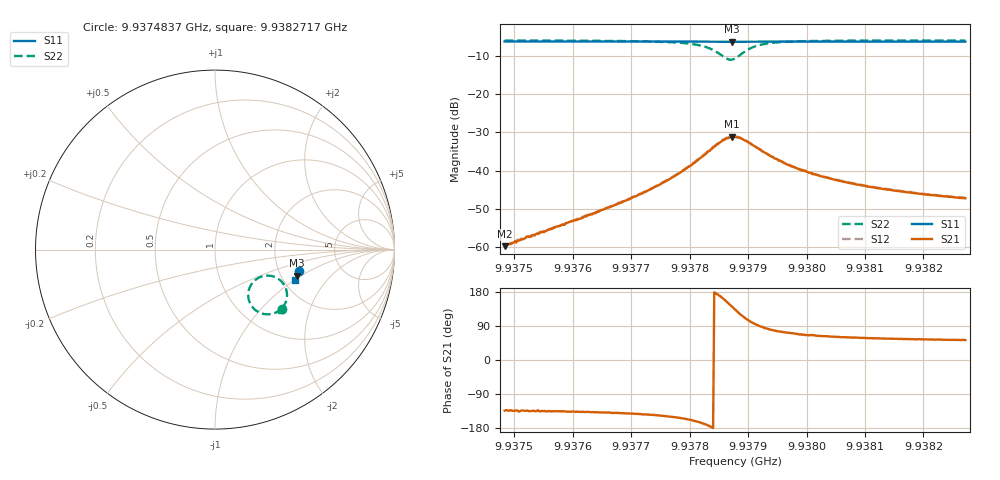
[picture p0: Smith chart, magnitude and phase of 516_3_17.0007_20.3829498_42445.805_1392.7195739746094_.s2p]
#  HZ  S  RI  R  50.00
! Rohde & Schwarz Vector Network Analyzer
! Rohde-Schwarz,ZNB20-2Port,1311601062101988,3.16
! Created: UTC 3/20/2024, 11:15:12 PM
! freq[Hz]  re:S11  im:S11  re:S21  im:S21  re:S12  im:S12  re:S22  im:S22
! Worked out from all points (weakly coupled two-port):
!   401 points, 9.9374837 GHz to 9.9382717 GHz, reference 50 ohm
!   highest |S21| = -31.20 dB at 9.9378718 GHz (marker M1); lowest = -59.7 dB at 9.9374837 GHz (marker M2)
!   lowest |S11| = -6.4 dB at 9.9378718 GHz (marker M3), VSWR 2.83, Z = 122 - j45.5 ohm
!   |S11| at or under -10 dB: nowhere
!   |S22| runs from -11.1 to -6.1 dB; largest |S21 - S12| = 0.0012
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9.93748369e9  0.4675 -0.1203  -0.000712 -0.000746  -0.000749 -0.000755  0.3718 -0.3293
9.93761568e9  0.4645 -0.1294  -0.00176 -0.00163  -0.00182 -0.00168  0.3559 -0.3414
9.93769645e9  0.4626 -0.1348  -0.00328 -0.00264  -0.0034 -0.00262  0.3387 -0.3508
9.93774767e9  0.461 -0.1383  -0.00538 -0.00358  -0.00552 -0.00357  0.3181 -0.3577
9.93778313e9  0.4598 -0.1407  -0.00829 -0.00424  -0.00847 -0.00418  0.2926 -0.3608
9.93780874e9  0.4588 -0.1425  -0.0119 -0.00406  -0.0123 -0.00413  0.2619 -0.3562
9.93782647e9  0.4578 -0.1436  -0.0159 -0.00304  -0.0164 -0.00261  0.2309 -0.3412
9.93784026e9  0.457 -0.1444  -0.02 -0.000115  -0.0203 0.000372  0.2036 -0.3134
9.93785405e9  0.4563 -0.1446  -0.0232 0.00569  -0.0236 0.0065  0.1855 -0.2622
9.9378639e9  0.4557 -0.1445  -0.0235 0.0118  -0.0236 0.0128  0.1925 -0.2139
9.93787178e9  0.4556 -0.1443  -0.0218 0.0168  -0.0215 0.0178  0.2158 -0.1776
9.93787769e9  0.4557 -0.1442  -0.0189 0.0199  -0.0184 0.0208  0.2421 -0.1577
9.93788754e9  0.456 -0.1444  -0.013 0.023  -0.0124 0.0234  0.2921 -0.1449
9.93790133e9  0.4566 -0.1452  -0.00547 0.0225  -0.0049 0.0228  0.3484 -0.1602
9.937923e9  0.4569 -0.1469  0.000624 0.018  0.0012 0.0183  0.3896 -0.2046
9.93794664e9  0.4569 -0.1488  0.00314 0.0139  0.00345 0.014  0.4005 -0.2419
9.93797028e9  0.4564 -0.1507  0.00363 0.0112  0.00412 0.0111  0.4004 -0.266
9.93800968e9  0.4554 -0.1536  0.00369 0.00821  0.00408 0.00834  0.3949 -0.29
9.93806681e9  0.4539 -0.1575  0.00354 0.00615  0.00369 0.00611  0.3863 -0.309
9.93814168e9  0.4521 -0.1625  0.00309 0.00467  0.00319 0.0047  0.3773 -0.3231
9.93820275e9  0.4503 -0.1664  0.00283 0.00394  0.00296 0.00398  0.3712 -0.3308
9.9382717e9  0.4483 -0.1708  0.00265 0.00345  0.00273 0.00348  0.3652 -0.3376
